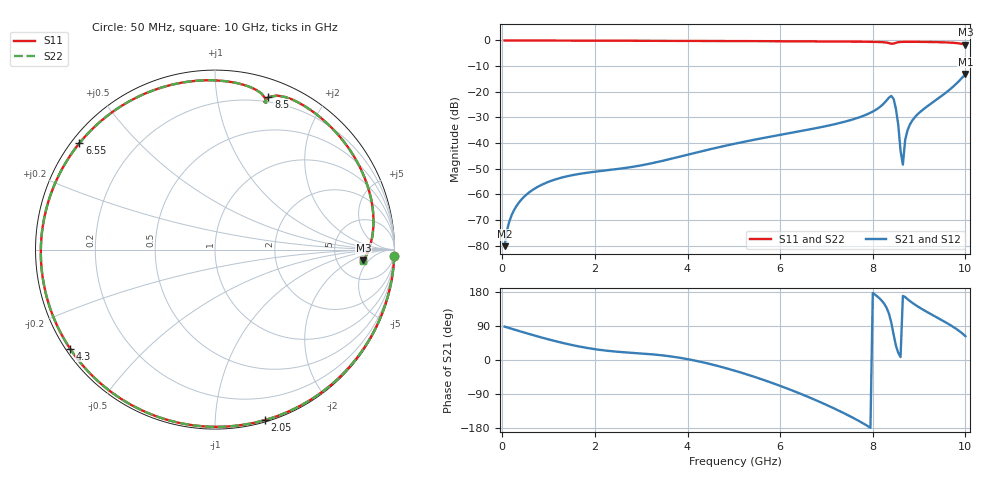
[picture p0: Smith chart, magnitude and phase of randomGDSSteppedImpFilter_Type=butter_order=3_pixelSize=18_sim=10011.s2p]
! freq	dB(S11)	phase(S11)	dB(S12)	phase(S12)
!  dB(S21)	phase(S21)	dB(S22)	phase(S22)
!S-par simulation data
#  GHz  S  DB  R 50
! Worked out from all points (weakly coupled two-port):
!   200 points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, 50 MHz to 10 GHz, reference 50 ohm
!   highest |S21| = -13.11 dB at 10 GHz (marker M1); lowest = -80.3 dB at 50 MHz (marker M2)
!   lowest |S11| = -1.6 dB at 10 GHz (marker M3), VSWR 10.73, Z = 465 - j181 ohm
!   |S11| at or under -10 dB: nowhere
!   |S22| runs from -1.6 to 0.0 dB; largest |S21 - S12| = 0
!   S11 on the Smith chart (normalised r, x): 50 MHz: 1, -61; 2.05 GHz: 0.01, -1.33; 4.3 GHz: 0.01, -0.31; 6.55 GHz: 0.02, +0.35; 8.5 GHz: 0.16, +1.40; 10 GHz: 9.31, -3.62
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0.05  -0.00 -1.9  -80.26 88.0  -80.26 88.0  -0.00 -1.9
0.2  -0.01 -7.5  -68.24 82.4  -68.24 82.4  -0.01 -7.5
0.5  -0.02 -18.6  -60.49 71.5  -60.49 71.5  -0.02 -18.6
1  -0.05 -36.9  -55.14 54.3  -55.14 54.3  -0.05 -36.9
1.75  -0.08 -63.5  -51.82 33.6  -51.82 33.6  -0.08 -63.5
2.05  -0.09 -73.7  -51.10 27.7  -51.10 27.7  -0.09 -73.8
3.4  -0.15 -117.7  -47.22 13.0  -47.22 13.0  -0.15 -117.7
4.3  -0.19 -145.6  -43.25 -5.2  -43.25 -5.2  -0.19 -145.7
5.05  -0.24 -168.9  -40.17 -29.3  -40.17 -29.3  -0.24 -168.9
6.55  -0.35 141.9  -35.00 -94.6  -35.00 -94.6  -0.35 141.8
6.7  -0.36 136.6  -34.48 -102.3  -34.48 -102.3  -0.36 136.5
7.65  -0.46 101.0  -30.35 -157.5  -30.35 -157.5  -0.46 100.9
8.35  -1.02 71.7  -22.29 122.0  -22.29 122.0  -1.02 71.5
8.45  -1.23 71.6  -22.81 67.0  -22.81 67.0  -1.24 71.4
8.5  -0.91 70.7  -26.73 38.0  -26.73 38.0  -0.91 70.6
8.55  -0.68 68.2  -32.85 18.6  -32.85 18.6  -0.68 68.1
8.6  -0.58 65.5  -43.11 7.7  -43.11 7.7  -0.58 65.3
8.65  -0.53 62.9  -48.45 169.1  -48.45 169.1  -0.54 62.7
8.7  -0.52 60.4  -38.73 166.0  -38.73 166.0  -0.52 60.2
8.85  -0.52 53.3  -31.33 151.2  -31.33 151.2  -0.52 53.1
9.55  -0.74 20.8  -20.79 101.0  -20.79 101.0  -0.74 20.5
10  -1.62 -4.2  -13.11 62.8  -13.11 62.8  -1.64 -4.6
